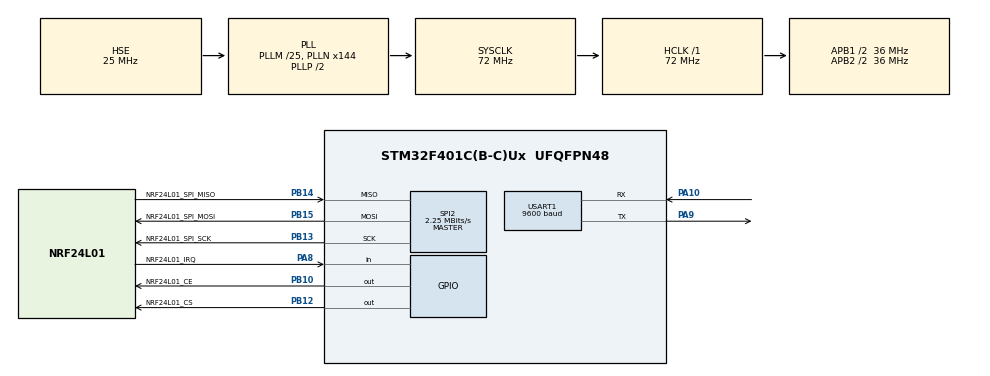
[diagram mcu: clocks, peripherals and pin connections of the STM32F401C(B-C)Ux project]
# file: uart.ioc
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Mcu.Family=STM32F4
Mcu.Name=STM32F401C(B-C)Ux
Mcu.Package=UFQFPN48
NVIC.PriorityGroup=NVIC_PRIORITYGROUP_4
PA10.Mode=Asynchronous
PA10.Signal=USART1_RX
PA8.GPIO_Label=NRF24L01_IRQ
PA8.Signal=GPIO_Input
PA9.Mode=Asynchronous
PA9.Signal=USART1_TX
PB10.GPIO_Label=NRF24L01_CE
PB10.Signal=GPIO_Output
PB12.GPIO_Label=NRF24L01_CS
PB12.Signal=GPIO_Output
PB13.GPIO_Label=NRF24L01_SPI_SCK
PB13.Mode=Full_Duplex_Master
PB13.Signal=SPI2_SCK
PB14.GPIO_Label=NRF24L01_SPI_MISO
PB14.Mode=Full_Duplex_Master
PB14.Signal=SPI2_MISO
PB15.GPIO_Label=NRF24L01_SPI_MOSI
PB15.Mode=Full_Duplex_Master
PB15.Signal=SPI2_MOSI
PH0\ -\ OSC_IN.Mode=HSE-External-Oscillator
PH0\ -\ OSC_IN.Signal=RCC_OSC_IN
PH1\ -\ OSC_OUT.Mode=HSE-External-Oscillator
PH1\ -\ OSC_OUT.Signal=RCC_OSC_OUT
ProjectManager.HeapSize=0x200
ProjectManager.StackSize=0x400
ProjectManager.TargetToolchain=Makefile
RCC.48MHZClocksFreq_Value=36000000
RCC.AHBFreq_Value=72000000
RCC.APB1CLKDivider=RCC_HCLK_DIV2
RCC.APB1Freq_Value=36000000
RCC.APB1TimFreq_Value=72000000
RCC.APB2CLKDivider=RCC_HCLK_DIV2
RCC.APB2Freq_Value=36000000
RCC.APB2TimFreq_Value=72000000
RCC.CortexFreq_Value=72000000
RCC.HCLKFreq_Value=72000000
RCC.HSE_VALUE=25000000
RCC.HSI_VALUE=16000000
RCC.LSE_VALUE=32768
RCC.PLLM=25
RCC.PLLN=144
RCC.PLLSourceVirtual=RCC_PLLSOURCE_HSE
RCC.SYSCLKFreq_VALUE=72000000
RCC.SYSCLKSource=RCC_SYSCLKSOURCE_PLLCLK
RCC.VCOOutputFreq_Value=144000000
SPI2.BaudRatePrescaler=SPI_BAUDRATEPRESCALER_16
SPI2.CalculateBaudRate=2.25 MBits/s
SPI2.Direction=SPI_DIRECTION_2LINES
SPI2.Mode=SPI_MODE_MASTER
SPI2.VirtualType=VM_MASTER
USART1.BaudRate=9600
USART1.VirtualMode=VM_ASYNC
board=custom

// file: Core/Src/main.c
/* USER CODE BEGIN Header */
/**
  ******************************************************************************
  * @file           : main.c
  * @brief          : Main program body
  ******************************************************************************
  * @attention
  *
  * <h2><center>&copy; Copyright (c) 2021 STMicroelectronics.
  * All rights reserved.</center></h2>
  *
  * This software component is licensed by ST under BSD 3-Clause license,
  * the "License"; You may not use this file except in compliance with the
  * License. You may obtain a copy of the License at:
  *                        opensource.org/licenses/BSD-3-Clause
  *
  ******************************************************************************
  */
/* USER CODE END Header */
#include "main.h"
#include "spi.h"
#include "usart.h"
#include "gpio.h"

/* USER CODE BEGIN Includes */
#include "NRF24L01.h"
#include "stdio.h"

/* USER CODE END Includes */

/* USER CODE BEGIN PV */
uint8_t tx_buf[32] = {11};
uint8_t ack_buf[32];
uint8_t sta;

/* USER CODE END PV */

void SystemClock_Config(void);

int main(void)
{

  /* MCU Configuration--------------------------------------------------------*/

  /* Reset of all peripherals, Initializes the Flash interface and the Systick. */
  HAL_Init();

  /* Configure the system clock */
  SystemClock_Config();

  /* Initialize all configured peripherals */
  MX_GPIO_Init();
  MX_USART1_UART_Init();
  MX_SPI2_Init();
  /* USER CODE BEGIN 2 */

	while(NRF24L01_Check())
	{
    printf("Can not find NRF24L01.\r\n");
		HAL_Delay(1000);
	}
  printf("NRF24L01 connect sucessfully.\r\n");
  NRF24L01_TX_Mode();

  /* USER CODE END 2 */

  /* Infinite loop */
  while (1)
  {

    /* USER CODE BEGIN 3 */

    sta = NRF24L01_TxPacket(tx_buf,ack_buf);
    if(sta == TX_OK)
    {
      printf("TX Success.\r\n");
    }
    else if(sta == RX_OK)
    {
      printf("RX_ACK_OK,ack_buf:%s.\r\n",ack_buf);
    }
    else
    {
      printf("TX Fail!\r\n");
    }

  }
  /* USER CODE END 3 */
}

void SystemClock_Config(void)
{
  RCC_OscInitTypeDef RCC_OscInitStruct = {0};
  RCC_ClkInitTypeDef RCC_ClkInitStruct = {0};

  /** Configure the main internal regulator output voltage
  */
  __HAL_RCC_PWR_CLK_ENABLE();
  __HAL_PWR_VOLTAGESCALING_CONFIG(PWR_REGULATOR_VOLTAGE_SCALE2);
  /** Initializes the RCC Oscillators according to the specified parameters
  * in the RCC_OscInitTypeDef structure.
  */
  RCC_OscInitStruct.OscillatorType = RCC_OSCILLATORTYPE_HSE;
  RCC_OscInitStruct.HSEState = RCC_HSE_ON;
  RCC_OscInitStruct.PLL.PLLState = RCC_PLL_ON;
  RCC_OscInitStruct.PLL.PLLSource = RCC_PLLSOURCE_HSE;
  RCC_OscInitStruct.PLL.PLLM = 25;
  RCC_OscInitStruct.PLL.PLLN = 144;
  RCC_OscInitStruct.PLL.PLLP = RCC_PLLP_DIV2;
  RCC_OscInitStruct.PLL.PLLQ = 4;
  if (HAL_RCC_OscConfig(&RCC_OscInitStruct) != HAL_OK)
  {
    Error_Handler();
  }
  /** Initializes the CPU, AHB and APB buses clocks
  */
  RCC_ClkInitStruct.ClockType = RCC_CLOCKTYPE_HCLK|RCC_CLOCKTYPE_SYSCLK
                              |RCC_CLOCKTYPE_PCLK1|RCC_CLOCKTYPE_PCLK2;
  RCC_ClkInitStruct.SYSCLKSource = RCC_SYSCLKSOURCE_PLLCLK;
  RCC_ClkInitStruct.AHBCLKDivider = RCC_SYSCLK_DIV1;
  RCC_ClkInitStruct.APB1CLKDivider = RCC_HCLK_DIV2;
  RCC_ClkInitStruct.APB2CLKDivider = RCC_HCLK_DIV2;

  if (HAL_RCC_ClockConfig(&RCC_ClkInitStruct, FLASH_LATENCY_2) != HAL_OK)
  {
    Error_Handler();
  }
}

void Error_Handler(void)
{
  __disable_irq();
  while (1)
  {
  }
}

/************************ (C) COPYRIGHT STMicroelectronics *****END OF FILE****/
